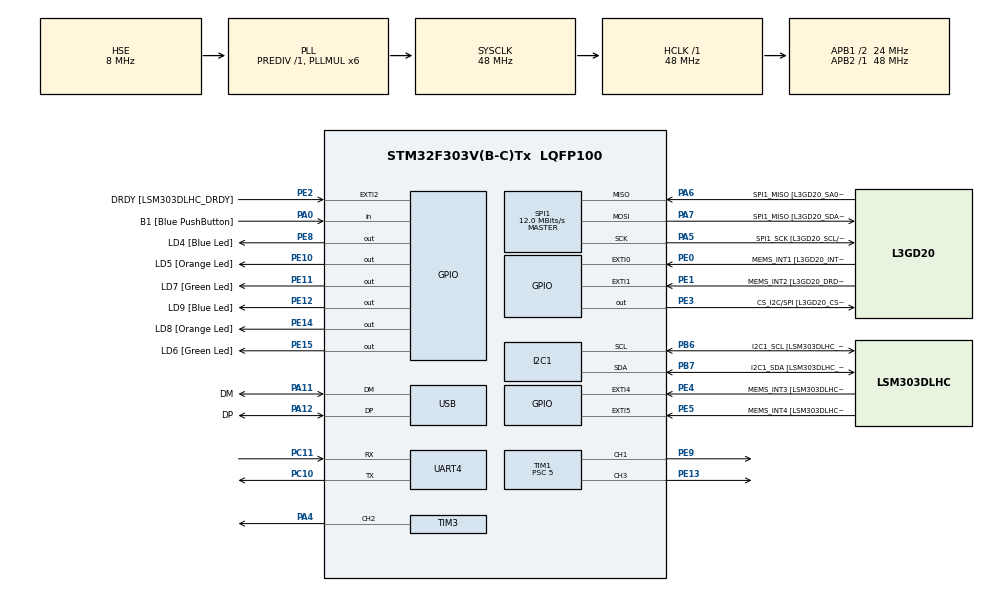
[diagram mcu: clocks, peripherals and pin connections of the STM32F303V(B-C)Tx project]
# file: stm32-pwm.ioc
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I2C1.Timing=0x2000090E
I2C1.Timing-I2C=0x2000090E
Mcu.Family=STM32F3
Mcu.Name=STM32F303V(B-C)Tx
Mcu.Package=LQFP100
NVIC.PriorityGroup=NVIC_PRIORITYGROUP_0
PA0.GPIO_Label=B1 [Blue PushButton]
PA0.Signal=GPIO_Input
PA11.GPIO_Label=DM
PA11.Mode=Device
PA11.Signal=USB_DM
PA12.GPIO_Label=DP
PA12.Mode=Device
PA12.Signal=USB_DP
PA13.GPIO_Label=SWDIO
PA13.Mode=Serial_Wire
PA13.Signal=SYS_JTMS-SWDIO
PA14.GPIO_Label=SWCLK
PA14.Mode=Serial_Wire
PA14.Signal=SYS_JTCK-SWCLK
PA4.Signal=S_TIM3_CH2
PA5.GPIO_Label=SPI1_SCK [L3GD20_SCL/SPC]
PA5.Mode=Full_Duplex_Master
PA5.Signal=SPI1_SCK
PA6.GPIO_Label=SPI1_MISO [L3GD20_SA0/SDO]
PA6.Mode=Full_Duplex_Master
PA6.Signal=SPI1_MISO
PA7.GPIO_Label=SPI1_MISO [L3GD20_SDA/SDI/SDO]
PA7.Mode=Full_Duplex_Master
PA7.Signal=SPI1_MOSI
PB3.GPIO_Label=SWO
PB3.Signal=SYS_JTDO-TRACESWO
PB6.GPIO_Label=I2C1_SCL [LSM303DLHC_SCL]
PB6.GPIO_Pu=GPIO_PULLUP
PB6.Mode=I2C
PB6.Signal=I2C1_SCL
PB7.GPIO_Label=I2C1_SDA [LSM303DLHC_SDA]
PB7.GPIO_Pu=GPIO_PULLUP
PB7.Mode=I2C
PB7.Signal=I2C1_SDA
PC10.Mode=Asynchronous
PC10.Signal=UART4_TX
PC11.Mode=Asynchronous
PC11.Signal=UART4_RX
PC14-OSC32_IN.GPIO_Label=OSC32_IN
PC14-OSC32_IN.Signal=RCC_OSC32_IN
PC15-OSC32_OUT.GPIO_Label=OSC32_OUT
PC15-OSC32_OUT.Signal=RCC_OSC32_OUT
PE0.GPIO_Label=MEMS_INT1 [L3GD20_INT1]
PE0.GPIO_ModeDefaultEXTI=GPIO_MODE_EVT_RISING
PE0.Signal=GPXTI0
PE1.GPIO_Label=MEMS_INT2 [L3GD20_DRDY/INT2]
PE1.GPIO_ModeDefaultEXTI=GPIO_MODE_EVT_RISING
PE1.Signal=GPXTI1
PE10.GPIO_Label=LD5 [Orange Led]
PE10.Signal=GPIO_Output
PE11.GPIO_Label=LD7 [Green Led]
PE11.Signal=GPIO_Output
PE12.GPIO_Label=LD9 [Blue Led]
PE12.Signal=GPIO_Output
PE13.Signal=S_TIM1_CH3
PE14.GPIO_Label=LD8 [Orange Led]
PE14.Signal=GPIO_Output
PE15.GPIO_Label=LD6 [Green Led]
PE15.Signal=GPIO_Output
PE2.GPIO_Label=DRDY [LSM303DLHC_DRDY]
PE2.GPIO_ModeDefaultEXTI=GPIO_MODE_EVT_RISING
PE2.Signal=GPXTI2
PE3.GPIO_Label=CS_I2C/SPI [L3GD20_CS_I2C/SPI]
PE3.Signal=GPIO_Output
PE4.GPIO_Label=MEMS_INT3 [LSM303DLHC_INT1]
PE4.GPIO_ModeDefaultEXTI=GPIO_MODE_EVT_RISING
PE4.Signal=GPXTI4
PE5.GPIO_Label=MEMS_INT4 [LSM303DLHC_INT2]
PE5.GPIO_ModeDefaultEXTI=GPIO_MODE_EVT_RISING
PE5.Signal=GPXTI5
PE8.GPIO_Label=LD4 [Blue Led]
PE8.Signal=GPIO_Output
PE9.Signal=S_TIM1_CH1
PF0-OSC_IN.GPIO_Label=OSC_IN
PF0-OSC_IN.Mode=HSE-External-Clock-Source
PF0-OSC_IN.Signal=RCC_OSC_IN
PF1-OSC_OUT.GPIO_Label=OSC_OUT
PF1-OSC_OUT.Signal=RCC_OSC_OUT
ProjectManager.HeapSize=0x200
ProjectManager.StackSize=0x400
ProjectManager.TargetToolchain=STM32CubeIDE
RCC.AHBFreq_Value=48000000
RCC.APB1CLKDivider=RCC_HCLK_DIV2
RCC.APB1Freq_Value=24000000
RCC.APB1TimFreq_Value=48000000
RCC.APB2Freq_Value=48000000
RCC.APB2TimFreq_Value=48000000
RCC.CortexFreq_Value=48000000
RCC.HCLKFreq_Value=48000000
RCC.HSE_VALUE=8000000
RCC.HSI_VALUE=8000000
RCC.LSE_VALUE=32768
RCC.PLLMUL=RCC_PLL_MUL6
RCC.SYSCLKFreq_VALUE=48000000
RCC.SYSCLKSourceVirtual=RCC_SYSCLKSOURCE_PLLCLK
RCC.USBFreq_Value=48000000
SH.S_TIM1_CH1.0=TIM1_CH1,PWM Generation1 CH1
SH.S_TIM1_CH3.0=TIM1_CH3,PWM Generation3 CH3
SH.S_TIM3_CH2.0=TIM3_CH2,PWM Generation2 CH2
SPI1.BaudRatePrescaler=SPI_BAUDRATEPRESCALER_4
SPI1.BaudRatePrescaler-Full_Duplex_Master=SPI_BAUDRATEPRESCALER_2
SPI1.CalculateBaudRate=12.0 MBits/s
SPI1.CalculateBaudRate-Full_Duplex_Master=24.0 MBits/s
SPI1.Direction=SPI_DIRECTION_2LINES
SPI1.Mode=SPI_MODE_MASTER
SPI1.Mode-Full_Duplex_Master=SPI_MODE_MASTER
SPI1.VirtualType=VM_MASTER
TIM1.AutoReloadPreload=TIM_AUTORELOAD_PRELOAD_ENABLE
TIM1.Channel-PWM\ Generation1\ CH1=TIM_CHANNEL_1
TIM1.Channel-PWM\ Generation3\ CH3=TIM_CHANNEL_3
TIM1.Period=999
TIM1.Prescaler=5
TIM1.Pulse-PWM\ Generation1\ CH1=200
TIM1.Pulse-PWM\ Generation3\ CH3=800
TIM3.AutoReloadPreload=TIM_AUTORELOAD_PRELOAD_ENABLE
TIM3.Channel-PWM\ Generation2\ CH2=TIM_CHANNEL_2
TIM3.Period=999
TIM3.Prescaler=47
TIM3.Pulse-PWM\ Generation2\ CH2=500
board=STM32F3DISCOVERY

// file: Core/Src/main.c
/* USER CODE BEGIN Header */
/**
  ******************************************************************************
  * @file           : main.c
  * @brief          : Main program body
  ******************************************************************************
  * @attention
  *
  * Copyright (c) 2023 STMicroelectronics.
  * All rights reserved.
  *
  * This software is licensed under terms that can be found in the LICENSE file
  * in the root directory of this software component.
  * If no LICENSE file comes with this software, it is provided AS-IS.
  *
  ******************************************************************************
  */
/* USER CODE END Header */
#include "main.h"

I2C_HandleTypeDef hi2c1;

SPI_HandleTypeDef hspi1;

TIM_HandleTypeDef htim1;
TIM_HandleTypeDef htim3;

UART_HandleTypeDef huart4;

PCD_HandleTypeDef hpcd_USB_FS;

void SystemClock_Config(void);
static void MX_GPIO_Init(void);
static void MX_I2C1_Init(void);
static void MX_SPI1_Init(void);
static void MX_USB_PCD_Init(void);
static void MX_TIM1_Init(void);
static void MX_TIM3_Init(void);
static void MX_UART4_Init(void);

int main(void)
{

	  /* MCU Configuration--------------------------------------------------------*/

	  /* Reset of all peripherals, Initializes the Flash interface and the Systick. */
	  HAL_Init();

	  /* Configure the system clock */
	  SystemClock_Config();

	  /* Initialize all configured peripherals */
	  MX_GPIO_Init();
	  MX_I2C1_Init();
	  MX_SPI1_Init();
	  MX_USB_PCD_Init();
	  MX_TIM1_Init();
	  MX_TIM3_Init();
	  MX_UART4_Init();
	  /* USER CODE BEGIN 2 */
	 // local variable with pointer to timer struct
	 TIM_HandleTypeDef *tim_led = &htim1;
	 // timer channel
	 uint32_t tim_led_channel = TIM_CHANNEL_1;
	 // timer tick frequency CNT
	 uint32_t tim_led_cnt_tick_freq;
	 // helper variables for timer parameters calculations
	 uint32_t arr_value;
	 uint32_t cc_value;
	 // reset CCR register
	 __HAL_TIM_SET_COMPARE(tim_led, tim_led_channel, 0);
	 // run timer
	 HAL_TIM_PWM_Start(tim_led, tim_led_channel);
	 // calculate timer tick frequency: f_tick = f_sysclcock / (CDK * (PSK + 1))
	 tim_led_cnt_tick_freq = SystemCoreClock;
	 switch (__HAL_TIM_GET_CLOCKDIVISION(tim_led)) {
		 case TIM_CLOCKDIVISION_DIV1:
			 tim_led_cnt_tick_freq /= 1;
			 break;
		 case TIM_CLOCKDIVISION_DIV2:
			 tim_led_cnt_tick_freq /= 2;
			 break;
		 case TIM_CLOCKDIVISION_DIV4:
			 tim_led_cnt_tick_freq /= 4;
			 break;
	 }
	 tim_led_cnt_tick_freq /= (tim_led->Instance->PSC + 1);
  /* USER CODE END 2 */

  /* Infinite loop */
  /* USER CODE BEGIN WHILE */
	 while (1) {
		 // PWN signal with 0.0 duty cycle (i.e. output is always 0)
		 arr_value = 999;
		 cc_value = 0;
		 __HAL_TIM_SET_AUTORELOAD(tim_led, arr_value);
		 __HAL_TIM_SET_COMPARE(tim_led, tim_led_channel, cc_value);
		 HAL_Delay(2000);
		 // PWM signal
		 // frequency: 1000 Hz
		 // duty cycle: 0.5
		 arr_value = tim_led_cnt_tick_freq / 1000 - 1;
		 cc_value = (arr_value + 1) * 0.5f;
		 __HAL_TIM_SET_AUTORELOAD(tim_led, arr_value);
		 __HAL_TIM_SET_COMPARE(tim_led, tim_led_channel, cc_value);
		 HAL_Delay(2000);
		 // PWM signal
		 // frequency: 2000 Hz
		 // duty cycle: 0.2
		 arr_value = tim_led_cnt_tick_freq / 2000 - 1;
		 cc_value = (arr_value + 1) * 0.2f;
		 __HAL_TIM_SET_AUTORELOAD(tim_led, arr_value);
		 __HAL_TIM_SET_COMPARE(tim_led, tim_led_channel, cc_value);
		 HAL_Delay(2000);
		 // PWM signal
		 // frequency: 2000 Hz
		 // duty cycle: 0.8
		 arr_value = tim_led_cnt_tick_freq / 2000 - 1;
		 cc_value = (arr_value + 1) * 0.8f;
		 __HAL_TIM_SET_AUTORELOAD(tim_led, arr_value);
		 __HAL_TIM_SET_COMPARE(tim_led, tim_led_channel, cc_value);
		 HAL_Delay(2000);
		 // PWN signal with 1.0 duty cycle (i.e. output is always 1)
		 arr_value = 999;
		 cc_value = 1000;
		 __HAL_TIM_SET_AUTORELOAD(tim_led, arr_value);
		 __HAL_TIM_SET_COMPARE(tim_led, tim_led_channel, cc_value);
		 HAL_Delay(2000);
    /* USER CODE END WHILE */

	 }
}

void SystemClock_Config(void)
{
  RCC_OscInitTypeDef RCC_OscInitStruct = {0};
  RCC_ClkInitTypeDef RCC_ClkInitStruct = {0};
  RCC_PeriphCLKInitTypeDef PeriphClkInit = {0};

  /** Initializes the RCC Oscillators according to the specified parameters
  * in the RCC_OscInitTypeDef structure.
  */
  RCC_OscInitStruct.OscillatorType = RCC_OSCILLATORTYPE_HSI|RCC_OSCILLATORTYPE_HSE;
  RCC_OscInitStruct.HSEState = RCC_HSE_BYPASS;
  RCC_OscInitStruct.HSEPredivValue = RCC_HSE_PREDIV_DIV1;
  RCC_OscInitStruct.HSIState = RCC_HSI_ON;
  RCC_OscInitStruct.HSICalibrationValue = RCC_HSICALIBRATION_DEFAULT;
  RCC_OscInitStruct.PLL.PLLState = RCC_PLL_ON;
  RCC_OscInitStruct.PLL.PLLSource = RCC_PLLSOURCE_HSE;
  RCC_OscInitStruct.PLL.PLLMUL = RCC_PLL_MUL6;
  if (HAL_RCC_OscConfig(&RCC_OscInitStruct) != HAL_OK)
  {
    Error_Handler();
  }

  /** Initializes the CPU, AHB and APB buses clocks
  */
  RCC_ClkInitStruct.ClockType = RCC_CLOCKTYPE_HCLK|RCC_CLOCKTYPE_SYSCLK
                              |RCC_CLOCKTYPE_PCLK1|RCC_CLOCKTYPE_PCLK2;
  RCC_ClkInitStruct.SYSCLKSource = RCC_SYSCLKSOURCE_PLLCLK;
  RCC_ClkInitStruct.AHBCLKDivider = RCC_SYSCLK_DIV1;
  RCC_ClkInitStruct.APB1CLKDivider = RCC_HCLK_DIV2;
  RCC_ClkInitStruct.APB2CLKDivider = RCC_HCLK_DIV1;

  if (HAL_RCC_ClockConfig(&RCC_ClkInitStruct, FLASH_LATENCY_1) != HAL_OK)
  {
    Error_Handler();
  }
  PeriphClkInit.PeriphClockSelection = RCC_PERIPHCLK_USB|RCC_PERIPHCLK_UART4
                              |RCC_PERIPHCLK_I2C1|RCC_PERIPHCLK_TIM1;
  PeriphClkInit.Uart4ClockSelection = RCC_UART4CLKSOURCE_PCLK1;
  PeriphClkInit.I2c1ClockSelection = RCC_I2C1CLKSOURCE_HSI;
  PeriphClkInit.USBClockSelection = RCC_USBCLKSOURCE_PLL;
  PeriphClkInit.Tim1ClockSelection = RCC_TIM1CLK_HCLK;
  if (HAL_RCCEx_PeriphCLKConfig(&PeriphClkInit) != HAL_OK)
  {
    Error_Handler();
  }
}

static void MX_I2C1_Init(void)
{

  hi2c1.Instance = I2C1;
  hi2c1.Init.Timing = 0x2000090E;
  hi2c1.Init.OwnAddress1 = 0;
  hi2c1.Init.AddressingMode = I2C_ADDRESSINGMODE_7BIT;
  hi2c1.Init.DualAddressMode = I2C_DUALADDRESS_DISABLE;
  hi2c1.Init.OwnAddress2 = 0;
  hi2c1.Init.OwnAddress2Masks = I2C_OA2_NOMASK;
  hi2c1.Init.GeneralCallMode = I2C_GENERALCALL_DISABLE;
  hi2c1.Init.NoStretchMode = I2C_NOSTRETCH_DISABLE;
  if (HAL_I2C_Init(&hi2c1) != HAL_OK)
  {
    Error_Handler();
  }

  /** Configure Analogue filter
  */
  if (HAL_I2CEx_ConfigAnalogFilter(&hi2c1, I2C_ANALOGFILTER_ENABLE) != HAL_OK)
  {
    Error_Handler();
  }

  /** Configure Digital filter
  */
  if (HAL_I2CEx_ConfigDigitalFilter(&hi2c1, 0) != HAL_OK)
  {
    Error_Handler();
  }

}

static void MX_SPI1_Init(void)
{

  /* SPI1 parameter configuration*/
  hspi1.Instance = SPI1;
  hspi1.Init.Mode = SPI_MODE_MASTER;
  hspi1.Init.Direction = SPI_DIRECTION_2LINES;
  hspi1.Init.DataSize = SPI_DATASIZE_4BIT;
  hspi1.Init.CLKPolarity = SPI_POLARITY_LOW;
  hspi1.Init.CLKPhase = SPI_PHASE_1EDGE;
  hspi1.Init.NSS = SPI_NSS_SOFT;
  hspi1.Init.BaudRatePrescaler = SPI_BAUDRATEPRESCALER_4;
  hspi1.Init.FirstBit = SPI_FIRSTBIT_MSB;
  hspi1.Init.TIMode = SPI_TIMODE_DISABLE;
  hspi1.Init.CRCCalculation = SPI_CRCCALCULATION_DISABLE;
  hspi1.Init.CRCPolynomial = 7;
  hspi1.Init.CRCLength = SPI_CRC_LENGTH_DATASIZE;
  hspi1.Init.NSSPMode = SPI_NSS_PULSE_ENABLE;
  if (HAL_SPI_Init(&hspi1) != HAL_OK)
  {
    Error_Handler();
  }

}

static void MX_TIM1_Init(void)
{

  TIM_MasterConfigTypeDef sMasterConfig = {0};
  TIM_OC_InitTypeDef sConfigOC = {0};
  TIM_BreakDeadTimeConfigTypeDef sBreakDeadTimeConfig = {0};

  htim1.Instance = TIM1;
  htim1.Init.Prescaler = 5;
  htim1.Init.CounterMode = TIM_COUNTERMODE_UP;
  htim1.Init.Period = 999;
  htim1.Init.ClockDivision = TIM_CLOCKDIVISION_DIV1;
  htim1.Init.RepetitionCounter = 0;
  htim1.Init.AutoReloadPreload = TIM_AUTORELOAD_PRELOAD_ENABLE;
  if (HAL_TIM_PWM_Init(&htim1) != HAL_OK)
  {
    Error_Handler();
  }
  sMasterConfig.MasterOutputTrigger = TIM_TRGO_RESET;
  sMasterConfig.MasterOutputTrigger2 = TIM_TRGO2_RESET;
  sMasterConfig.MasterSlaveMode = TIM_MASTERSLAVEMODE_DISABLE;
  if (HAL_TIMEx_MasterConfigSynchronization(&htim1, &sMasterConfig) != HAL_OK)
  {
    Error_Handler();
  }
  sConfigOC.OCMode = TIM_OCMODE_PWM1;
  sConfigOC.Pulse = 200;
  sConfigOC.OCPolarity = TIM_OCPOLARITY_HIGH;
  sConfigOC.OCNPolarity = TIM_OCNPOLARITY_HIGH;
  sConfigOC.OCFastMode = TIM_OCFAST_DISABLE;
  sConfigOC.OCIdleState = TIM_OCIDLESTATE_RESET;
  sConfigOC.OCNIdleState = TIM_OCNIDLESTATE_RESET;
  if (HAL_TIM_PWM_ConfigChannel(&htim1, &sConfigOC, TIM_CHANNEL_1) != HAL_OK)
  {
    Error_Handler();
  }
  sConfigOC.Pulse = 800;
  if (HAL_TIM_PWM_ConfigChannel(&htim1, &sConfigOC, TIM_CHANNEL_3) != HAL_OK)
  {
    Error_Handler();
  }
  sBreakDeadTimeConfig.OffStateRunMode = TIM_OSSR_DISABLE;
  sBreakDeadTimeConfig.OffStateIDLEMode = TIM_OSSI_DISABLE;
  sBreakDeadTimeConfig.LockLevel = TIM_LOCKLEVEL_OFF;
  sBreakDeadTimeConfig.DeadTime = 0;
  sBreakDeadTimeConfig.BreakState = TIM_BREAK_DISABLE;
  sBreakDeadTimeConfig.BreakPolarity = TIM_BREAKPOLARITY_HIGH;
  sBreakDeadTimeConfig.BreakFilter = 0;
  sBreakDeadTimeConfig.Break2State = TIM_BREAK2_DISABLE;
  sBreakDeadTimeConfig.Break2Polarity = TIM_BREAK2POLARITY_HIGH;
  sBreakDeadTimeConfig.Break2Filter = 0;
  sBreakDeadTimeConfig.AutomaticOutput = TIM_AUTOMATICOUTPUT_DISABLE;
  if (HAL_TIMEx_ConfigBreakDeadTime(&htim1, &sBreakDeadTimeConfig) != HAL_OK)
  {
    Error_Handler();
  }
  HAL_TIM_MspPostInit(&htim1);

}

static void MX_TIM3_Init(void)
{

  TIM_MasterConfigTypeDef sMasterConfig = {0};
  TIM_OC_InitTypeDef sConfigOC = {0};

  htim3.Instance = TIM3;
  htim3.Init.Prescaler = 47;
  htim3.Init.CounterMode = TIM_COUNTERMODE_UP;
  htim3.Init.Period = 999;
  htim3.Init.ClockDivision = TIM_CLOCKDIVISION_DIV1;
  htim3.Init.AutoReloadPreload = TIM_AUTORELOAD_PRELOAD_ENABLE;
  if (HAL_TIM_PWM_Init(&htim3) != HAL_OK)
  {
    Error_Handler();
  }
  sMasterConfig.MasterOutputTrigger = TIM_TRGO_RESET;
  sMasterConfig.MasterSlaveMode = TIM_MASTERSLAVEMODE_DISABLE;
  if (HAL_TIMEx_MasterConfigSynchronization(&htim3, &sMasterConfig) != HAL_OK)
  {
    Error_Handler();
  }
  sConfigOC.OCMode = TIM_OCMODE_PWM1;
  sConfigOC.Pulse = 500;
  sConfigOC.OCPolarity = TIM_OCPOLARITY_HIGH;
  sConfigOC.OCFastMode = TIM_OCFAST_DISABLE;
  if (HAL_TIM_PWM_ConfigChannel(&htim3, &sConfigOC, TIM_CHANNEL_2) != HAL_OK)
  {
    Error_Handler();
  }
  HAL_TIM_MspPostInit(&htim3);

}

static void MX_UART4_Init(void)
{

  huart4.Instance = UART4;
  huart4.Init.BaudRate = 115200;
  huart4.Init.WordLength = UART_WORDLENGTH_8B;
  huart4.Init.StopBits = UART_STOPBITS_1;
  huart4.Init.Parity = UART_PARITY_NONE;
  huart4.Init.Mode = UART_MODE_TX_RX;
  huart4.Init.HwFlowCtl = UART_HWCONTROL_NONE;
  huart4.Init.OverSampling = UART_OVERSAMPLING_16;
  huart4.Init.OneBitSampling = UART_ONE_BIT_SAMPLE_DISABLE;
  huart4.AdvancedInit.AdvFeatureInit = UART_ADVFEATURE_NO_INIT;
  if (HAL_UART_Init(&huart4) != HAL_OK)
  {
    Error_Handler();
  }

}

static void MX_USB_PCD_Init(void)
{

  hpcd_USB_FS.Instance = USB;
  hpcd_USB_FS.Init.dev_endpoints = 8;
  hpcd_USB_FS.Init.speed = PCD_SPEED_FULL;
  hpcd_USB_FS.Init.phy_itface = PCD_PHY_EMBEDDED;
  hpcd_USB_FS.Init.low_power_enable = DISABLE;
  hpcd_USB_FS.Init.battery_charging_enable = DISABLE;
  if (HAL_PCD_Init(&hpcd_USB_FS) != HAL_OK)
  {
    Error_Handler();
  }

}

static void MX_GPIO_Init(void)
{
  GPIO_InitTypeDef GPIO_InitStruct = {0};

  /* GPIO Ports Clock Enable */
  __HAL_RCC_GPIOE_CLK_ENABLE();
  __HAL_RCC_GPIOC_CLK_ENABLE();
  __HAL_RCC_GPIOF_CLK_ENABLE();
  __HAL_RCC_GPIOA_CLK_ENABLE();
  __HAL_RCC_GPIOB_CLK_ENABLE();

  /*Configure GPIO pin Output Level */
  HAL_GPIO_WritePin(GPIOE, CS_I2C_SPI_Pin|LD4_Pin|LD5_Pin|LD7_Pin
                          |LD9_Pin|LD8_Pin|LD6_Pin, GPIO_PIN_RESET);

  /*Configure GPIO pins : DRDY_Pin MEMS_INT3_Pin MEMS_INT4_Pin MEMS_INT1_Pin
                           MEMS_INT2_Pin */
  GPIO_InitStruct.Pin = DRDY_Pin|MEMS_INT3_Pin|MEMS_INT4_Pin|MEMS_INT1_Pin
                          |MEMS_INT2_Pin;
  GPIO_InitStruct.Mode = GPIO_MODE_EVT_RISING;
  GPIO_InitStruct.Pull = GPIO_NOPULL;
  HAL_GPIO_Init(GPIOE, &GPIO_InitStruct);

  /*Configure GPIO pins : CS_I2C_SPI_Pin LD4_Pin LD5_Pin LD7_Pin
                           LD9_Pin LD8_Pin LD6_Pin */
  GPIO_InitStruct.Pin = CS_I2C_SPI_Pin|LD4_Pin|LD5_Pin|LD7_Pin
                          |LD9_Pin|LD8_Pin|LD6_Pin;
  GPIO_InitStruct.Mode = GPIO_MODE_OUTPUT_PP;
  GPIO_InitStruct.Pull = GPIO_NOPULL;
  GPIO_InitStruct.Speed = GPIO_SPEED_FREQ_LOW;
  HAL_GPIO_Init(GPIOE, &GPIO_InitStruct);

  /*Configure GPIO pin : B1_Pin */
  GPIO_InitStruct.Pin = B1_Pin;
  GPIO_InitStruct.Mode = GPIO_MODE_INPUT;
  GPIO_InitStruct.Pull = GPIO_NOPULL;
  HAL_GPIO_Init(B1_GPIO_Port, &GPIO_InitStruct);

}

void Error_Handler(void)
{
  __disable_irq();
  while (1)
  {
  }
}
